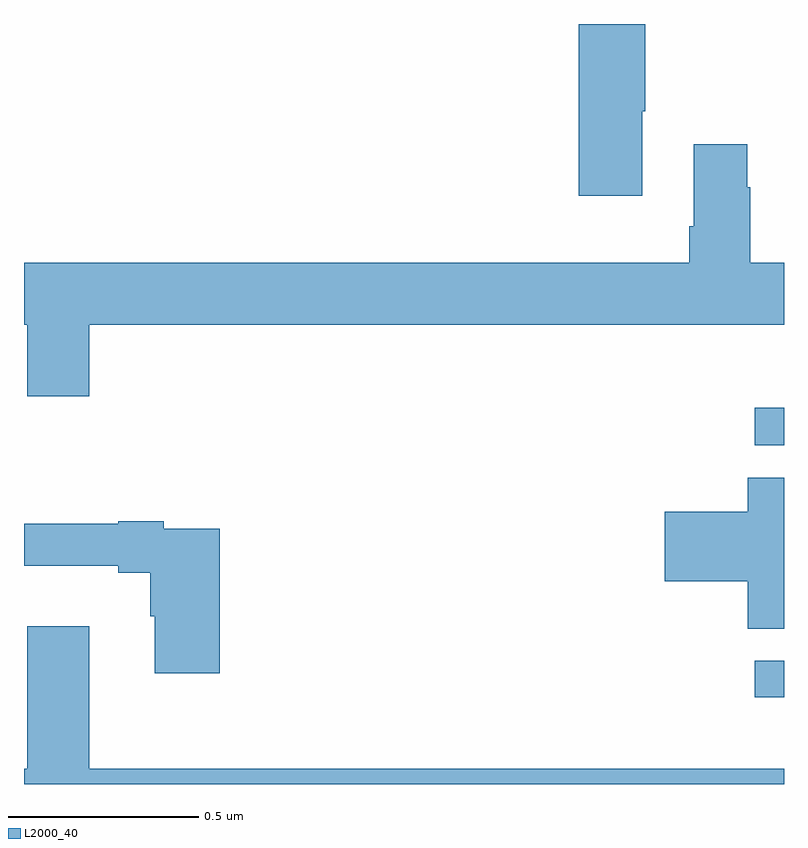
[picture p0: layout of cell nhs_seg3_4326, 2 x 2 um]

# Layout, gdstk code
import gdstk
lib = gdstk.Library(unit=1e-6, precision=1e-09)
def R(c, l, rs):  # rectangles x0, y0, x1, y1
    for r in rs: c.add(gdstk.rectangle(r[:2], r[2:], *l))
def P(c, l, *ps):  # polygons
    for p in ps: c.add(gdstk.Polygon(p, *l))
L2000_40 = (2000, 40)

nhs_seg3_4326 = lib.new_cell('nhs_seg3_4326')
R(nhs_seg3_4326, L2000_40, [(166.923,674.628,167,674.724), (166.923,675.291,167,675.39)])
P(nhs_seg3_4326, L2000_40, [(166.627,676.171),(166.635,676.171),(166.635,676.4),(166.46,676.4),(166.46,675.948),(166.627,675.948)],
  [(165.172,675.608),(167,675.608),(167,675.772),(166.911,675.772),(166.911,675.971),(166.903,675.971),(166.903,676.084),(166.763,676.084),(166.763,675.868),(166.751,675.868),(166.751,675.772),(165,675.772),(165,675.608),(165.008,675.608),(165.008,675.42),(165.172,675.42)],
  [(167,675.206),(166.904,675.206),(166.904,675.116),(166.686,675.116),(166.686,674.933),(166.904,674.933),(166.904,674.809),(167,674.809)],
  [(165.515,675.072),(165.368,675.072),(165.368,675.092),(165.248,675.092),(165.248,675.085),(165,675.085),(165,674.975),(165.248,674.975),(165.248,674.956),(165.332,674.956),(165.332,674.841),(165.344,674.841),(165.344,674.691),(165.515,674.691)],
  [(167,674.44),(165.172,674.44),(165.172,674.815),(165.008,674.815),(165.008,674.44),(165,674.44),(165,674.4),(167,674.4)])

lib.write_gds('nhs_seg3_4326.gds')
